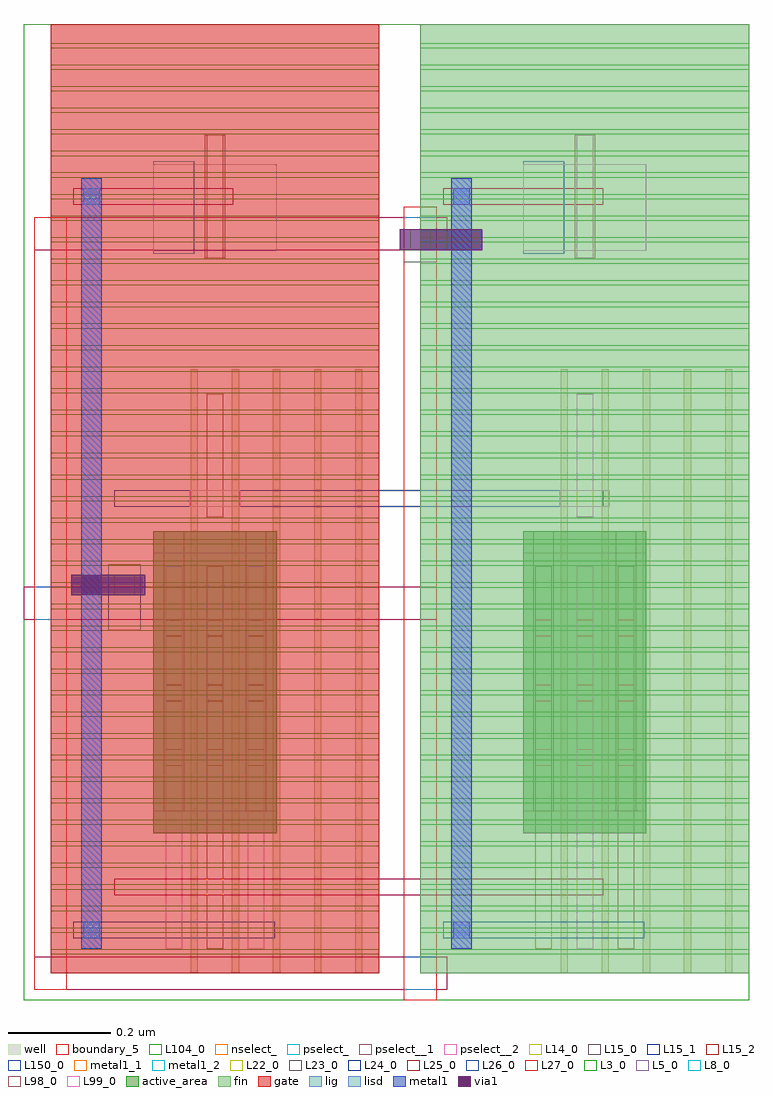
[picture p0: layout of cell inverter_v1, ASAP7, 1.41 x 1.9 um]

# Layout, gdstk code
import gdstk
lib = gdstk.Library(unit=1e-6, precision=2.5e-11)
def R(c, l, rs):  # rectangles x0, y0, x1, y1
    for r in rs: c.add(gdstk.rectangle(r[:2], r[2:], *l))
def A(c, l, x, y, w, h, nx, ny, dx, dy):  # array of equal rectangles
    R(c, l, [(x+i*dx, y+j*dy, x+i*dx+w, y+j*dy+h) for i in range(nx) for j in range(ny)])
well = (1, 0)
fin = (2, 0)
L3_0 = (3, 0)
L5_0 = (5, 0)
gate = (7, 0)
L8_0 = (8, 0)
active_area = (11, 0)
nselect_ = (12, 0)
pselect_ = (13, 0)
pselect__1 = (13, 1)
pselect__2 = (13, 2)
L14_0 = (14, 0)
L15_0 = (15, 0)
L15_1 = (15, 1)
L15_2 = (15, 2)
lig = (16, 0)
lisd = (17, 0)
metal1 = (19, 0)
metal1_1 = (19, 1)
metal1_2 = (19, 2)
via1 = (21, 0)
L22_0 = (22, 0)
L23_0 = (23, 0)
L24_0 = (24, 0)
L25_0 = (25, 0)
L26_0 = (26, 0)
L27_0 = (27, 0)
L98_0 = (98, 0)
L99_0 = (99, 0)
boundary_5 = (100, 5)
L104_0 = (104, 0)
L150_0 = (150, 0)

inverter_v1 = lib.new_cell('inverter_v1')
A(inverter_v1, well, 0.273, 0, 0.014, 1.176, 5, 1, 0.08, 0)
A(inverter_v1, well, 0.993, 0, 0.014, 1.176, 5, 1, 0.08, 0)
R(inverter_v1, fin, [(0.72,0,1.36,1.848)])
A(inverter_v1, L3_0, 0, 0.037, 0.64, 0.01, 1, 43, 0, 0.042)
A(inverter_v1, L3_0, 0.72, 0.037, 0.64, 0.01, 1, 43, 0, 0.042)
R(inverter_v1, L5_0, [(0.2,0.315,0.44,0.819), (0.92,0.315,1.16,0.819), (0.2,1.407,0.44,1.575), (0.92,1.407,1.16,1.575)])
R(inverter_v1, gate, [(0,0,0.64,1.848)])
R(inverter_v1, L8_0, [(0.72,0,1.36,1.848)])
R(inverter_v1, active_area, [(0.2,0.273,0.44,0.861), (0.92,0.273,1.16,0.861)])
A(inverter_v1, nselect_, 0.224, 0.404, 0.032, 0.032, 3, 3, 0.08, 0.126)
A(inverter_v1, nselect_, 0.944, 0.404, 0.032, 0.032, 3, 3, 0.08, 0.126)
R(inverter_v1, nselect_, [(0.304,0.908,0.336,0.94), (1.024,0.908,1.056,0.94), (0.304,1.496,0.336,1.528), (1.024,1.496,1.056,1.528)])
R(inverter_v1, pselect_, [(0.224,0.048,0.256,0.792), (0.224,0.048,0.256,0.792), (0.304,0.048,0.336,0.792), (0.304,0.048,0.336,0.792), (0.384,0.048,0.416,0.792), (0.384,0.048,0.416,0.792), (0.944,0.048,0.976,0.792), (0.944,0.048,0.976,0.792), (1.024,0.048,1.056,0.792), (1.024,0.048,1.056,0.792), (1.104,0.048,1.136,0.792), (1.104,0.048,1.136,0.792), (0.304,0.888,0.336,1.128), (0.304,0.888,0.336,1.128), (1.024,0.888,1.056,1.128), (1.024,0.888,1.056,1.128), (0.304,1.392,0.336,1.632), (0.304,1.392,0.336,1.632), (1.024,1.392,1.056,1.632), (1.024,1.392,1.056,1.632)])
R(inverter_v1, pselect__1, [(0.304,0.048,0.336,0.792), (0.944,0.048,0.976,0.792), (1.104,0.048,1.136,0.792), (0.304,0.888,0.336,1.128), (0.304,1.392,0.336,1.632)])
R(inverter_v1, pselect__2, [(0.224,0.048,0.256,0.792), (0.384,0.048,0.416,0.792), (1.024,0.048,1.056,0.792), (1.024,0.888,1.056,1.128), (1.024,1.392,1.056,1.632)])
R(inverter_v1, L14_0, [(0.224,0.068,0.256,0.1), (0.384,0.068,0.416,0.1), (0.944,0.068,0.976,0.1), (1.104,0.068,1.136,0.1), (0.304,0.152,0.336,0.184), (1.024,0.152,1.056,0.184), (0.304,0.908,0.336,0.94), (1.024,0.908,1.056,0.94), (0.304,1.496,0.336,1.528), (1.024,1.496,1.056,1.528)])
R(inverter_v1, L15_0, [(0.044,0.068,0.436,0.1), (0.044,0.068,0.436,0.1), (0.764,0.068,1.156,0.1), (0.764,0.068,1.156,0.1), (0.124,0.152,1.076,0.184), (0.124,0.152,1.076,0.184), (0.124,0.908,1.076,0.94), (0.124,0.908,1.076,0.94), (0.044,1.496,0.356,1.528), (0.044,1.496,0.356,1.528), (0.764,1.496,1.076,1.528), (0.764,1.496,1.076,1.528)])
R(inverter_v1, L15_1, [(0.044,0.068,0.436,0.1), (0.764,0.068,1.156,0.1), (0.124,0.908,1.076,0.94)])
R(inverter_v1, L15_2, [(0.124,0.152,1.076,0.184), (0.044,1.496,0.356,1.528), (0.764,1.496,1.076,1.528)])
R(inverter_v1, lig, [(0.064,0.068,0.096,0.1), (0.784,0.068,0.816,0.1), (0.064,1.496,0.096,1.528), (0.784,1.496,0.816,1.528)])
R(inverter_v1, lisd, [(0.06,0.736,0.1,0.776), (0.78,1.408,0.82,1.448)])
R(inverter_v1, metal1, [(0.06,0.048,0.1,1.548), (0.06,0.048,0.1,1.548), (0.78,0.048,0.82,1.548), (0.78,0.048,0.82,1.548)])
R(inverter_v1, metal1_1, [(0.78,0.048,0.82,1.548)])
R(inverter_v1, metal1_2, [(0.06,0.048,0.1,1.548)])
R(inverter_v1, via1, [(0.04,0.736,0.184,0.776), (0.68,1.408,0.84,1.448)])
R(inverter_v1, L22_0, [(0.124,0.736,0.164,0.776), (0.7,1.408,0.74,1.448)])
R(inverter_v1, L23_0, [(0.112,0.668,0.176,0.796), (0.688,1.384,0.752,1.492)])
R(inverter_v1, L24_0, [(0.112,0.688,0.176,0.752), (0.688,1.408,0.752,1.472)])
R(inverter_v1, L25_0, [(-0.032,-0.032,0.772,0.032), (-0.052,0.688,0.752,0.752), (-0.032,1.408,0.772,1.472)])
R(inverter_v1, L26_0, [(0.688,-0.032,0.752,0.032), (-0.032,0.688,0.032,0.752), (0.688,1.408,0.752,1.472)])
R(inverter_v1, L27_0, [(0.688,-0.052,0.752,1.492), (-0.032,-0.032,0.032,1.472)])
R(inverter_v1, L98_0, [(0.22,0.315,0.26,0.861), (0.38,0.315,0.42,0.861), (0.94,0.315,0.98,0.861), (1.1,0.315,1.14,0.861), (0.3,1.392,0.34,1.632), (1.02,1.392,1.06,1.632)])
R(inverter_v1, L99_0, [(0.271,0.908,0.369,0.94), (0.991,0.908,1.089,0.94)])
R(inverter_v1, boundary_5, [(-0.052,-0.052,1.36,1.848)])
R(inverter_v1, L104_0, [(-0.052,-0.052,1.36,1.848)])
R(inverter_v1, L150_0, [(0.2,1.401,0.28,1.581), (0.92,1.401,1,1.581)])

lib.write_gds('inverter_v1.gds')
